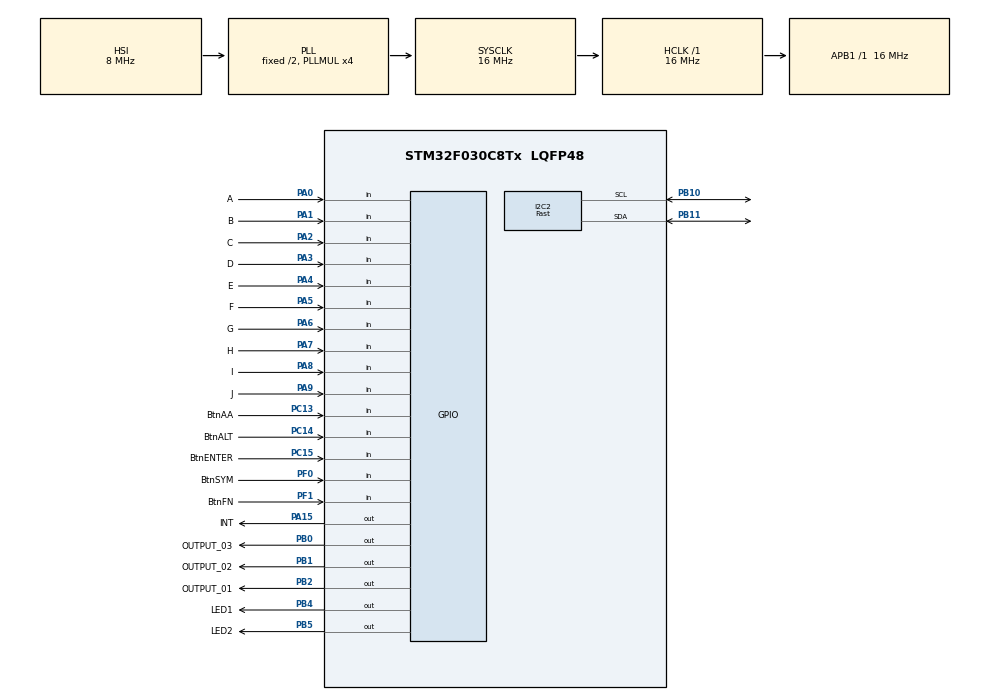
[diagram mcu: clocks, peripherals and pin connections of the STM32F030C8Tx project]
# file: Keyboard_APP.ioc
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I2C2.I2C_Speed_Mode=I2C_Fast
I2C2.OwnAddress=0x08<<1
I2C2.Timing=0x00300617
IWDG.Prescaler=IWDG_PRESCALER_64
Mcu.Family=STM32F0
Mcu.Name=STM32F030C8Tx
Mcu.Package=LQFP48
NVIC.I2C2_IRQn=true\:0\:0\:false\:false\:true\:true\:true\:true
PA0.GPIO_Label=A
PA0.GPIO_PuPd=GPIO_PULLUP
PA0.Signal=GPIO_Input
PA1.GPIO_Label=B
PA1.GPIO_PuPd=GPIO_PULLUP
PA1.Signal=GPIO_Input
PA15.GPIO_Label=INT
PA15.Signal=GPIO_Output
PA2.GPIO_Label=C
PA2.GPIO_PuPd=GPIO_PULLUP
PA2.Signal=GPIO_Input
PA3.GPIO_Label=D
PA3.GPIO_PuPd=GPIO_PULLUP
PA3.Signal=GPIO_Input
PA4.GPIO_Label=E
PA4.GPIO_PuPd=GPIO_PULLUP
PA4.Signal=GPIO_Input
PA5.GPIO_Label=F
PA5.GPIO_PuPd=GPIO_PULLUP
PA5.Signal=GPIO_Input
PA6.GPIO_Label=G
PA6.GPIO_PuPd=GPIO_PULLUP
PA6.Signal=GPIO_Input
PA7.GPIO_Label=H
PA7.GPIO_PuPd=GPIO_PULLUP
PA7.Signal=GPIO_Input
PA8.GPIO_Label=I
PA8.GPIO_PuPd=GPIO_PULLUP
PA8.Signal=GPIO_Input
PA9.GPIO_Label=J
PA9.GPIO_PuPd=GPIO_PULLUP
PA9.Signal=GPIO_Input
PB0.GPIO_Label=OUTPUT_03
PB0.Signal=GPIO_Output
PB1.GPIO_Label=OUTPUT_02
PB1.Signal=GPIO_Output
PB10.Mode=I2C
PB10.Signal=I2C2_SCL
PB11.Mode=I2C
PB11.Signal=I2C2_SDA
PB2.GPIO_Label=OUTPUT_01
PB2.Signal=GPIO_Output
PB4.GPIO_Label=LED1
PB4.Signal=GPIO_Output
PB5.GPIO_Label=LED2
PB5.Signal=GPIO_Output
PC13.GPIO_Label=BtnAA
PC13.GPIO_PuPd=GPIO_PULLUP
PC13.Signal=GPIO_Input
PC14-OSC32_IN.GPIO_Label=BtnALT
PC14-OSC32_IN.GPIO_PuPd=GPIO_PULLUP
PC14-OSC32_IN.Signal=GPIO_Input
PC15-OSC32_OUT.GPIO_Label=BtnENTER
PC15-OSC32_OUT.GPIO_PuPd=GPIO_PULLUP
PC15-OSC32_OUT.Signal=GPIO_Input
PF0-OSC_IN.GPIO_Label=BtnSYM
PF0-OSC_IN.GPIO_PuPd=GPIO_PULLUP
PF0-OSC_IN.Signal=GPIO_Input
PF1-OSC_OUT.GPIO_Label=BtnFN
PF1-OSC_OUT.GPIO_PuPd=GPIO_PULLUP
PF1-OSC_OUT.Signal=GPIO_Input
ProjectManager.HeapSize=0x200
ProjectManager.StackSize=0x400
ProjectManager.TargetToolchain=STM32CubeIDE
RCC.AHBFreq_Value=16000000
RCC.APB1Freq_Value=16000000
RCC.APB1TimFreq_Value=16000000
RCC.HCLKFreq_Value=16000000
RCC.PLLMUL=RCC_PLL_MUL4
RCC.SYSCLKFreq_VALUE=16000000
RCC.SYSCLKSource=RCC_SYSCLKSOURCE_PLLCLK
VP_IWDG_VS_IWDG.Mode=IWDG_Activate
board=custom

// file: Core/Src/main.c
/* USER CODE BEGIN Header */
/**
 ******************************************************************************
 * @file           : main.c
 * @brief          : Main program body
 ******************************************************************************
 * @attention
 *
 * Copyright (c) 2025 STMicroelectronics.
 * All rights reserved.
 *
 * This software is licensed under terms that can be found in the LICENSE file
 * in the root directory of this software component.
 * If no LICENSE file comes with this software, it is provided AS-IS.
 *
 ******************************************************************************
 */
/* USER CODE END Header */
#include "main.h"
#include "i2c.h"
#include "iwdg.h"
#include "gpio.h"

/* USER CODE BEGIN Includes */

#include "user_i2c.h"
#include "user_i2c_callback.h"
#include "user_sys.h"
#include "user_scan_handle.h"
#include "user_int.h"
#include "user_led.h"
#include "user_flash.h"

/* USER CODE END Includes */

void SystemClock_Config(void);

/* USER CODE BEGIN 0 */

void iap_set(void)
{
    uint8_t i;                                     // Loop index
    uint32_t *pVecTab = (uint32_t *)(0x20000000);  // Pointer to the vector table in SRAM

    // Copy the interrupt vector table from the application address to SRAM
    for (i = 0; i < 48; i++) {
        // Copy each vector entry to the SRAM vector table
        *(pVecTab++) = *(__IO uint32_t *)(APPLICATION_ADDRESS + (i << 2));
    }

    // Enable the SYSCFG peripheral clock
    __HAL_RCC_SYSCFG_CLK_ENABLE();

    // Remap the memory to use SRAM for the vector table
    __HAL_SYSCFG_REMAPMEMORY_SRAM();
}

void reg_init(void)
{
    if (get_i2c_addr() == FLASH_DEFAULT_DATA) {
        i2c_addr_reg = I2C_ADDR_REG_DEFAULT;
        set_i2c_addr(I2C_ADDR_REG_DEFAULT);
    } else {
        i2c_addr_reg = get_i2c_addr();
    }
}

/* USER CODE END 0 */

int main(void)
{
    /* USER CODE BEGIN 1 */
    iap_set();
    reg_init();
    /* USER CODE END 1 */

    /* MCU Configuration--------------------------------------------------------*/

    /* Reset of all peripherals, Initializes the Flash interface and the Systick. */
    HAL_Init();

    /* Configure the system clock */
    SystemClock_Config();

    /* Initialize all configured peripherals */
    MX_GPIO_Init();
    MX_I2C2_Init();
    /* USER CODE BEGIN 2 */
    IRQ_CLR;
    direct_mode_sync_baseline();
    read_uid();
    user_i2c_init();
    i2c2_it_enable();
    led_blink();
    MX_IWDG_Init();
    /* USER CODE END 2 */

    /* Infinite loop */
    /* USER CODE BEGIN WHILE */

    while (1) {
        i2c_timeout_handler();
        keyboard_update();
        led_update();
        /* USER CODE END WHILE */

        /* USER CODE BEGIN 3 */
        LL_IWDG_ReloadCounter(IWDG);
    }
    /* USER CODE END 3 */
}

void SystemClock_Config(void)
{
    RCC_OscInitTypeDef RCC_OscInitStruct = {0};
    RCC_ClkInitTypeDef RCC_ClkInitStruct = {0};

    /** Initializes the RCC Oscillators according to the specified parameters
     * in the RCC_OscInitTypeDef structure.
     */
    RCC_OscInitStruct.OscillatorType      = RCC_OSCILLATORTYPE_HSI | RCC_OSCILLATORTYPE_LSI;
    RCC_OscInitStruct.HSIState            = RCC_HSI_ON;
    RCC_OscInitStruct.HSICalibrationValue = RCC_HSICALIBRATION_DEFAULT;
    RCC_OscInitStruct.LSIState            = RCC_LSI_ON;
    RCC_OscInitStruct.PLL.PLLState        = RCC_PLL_ON;
    RCC_OscInitStruct.PLL.PLLSource       = RCC_PLLSOURCE_HSI;
    RCC_OscInitStruct.PLL.PLLMUL          = RCC_PLL_MUL4;
    RCC_OscInitStruct.PLL.PREDIV          = RCC_PREDIV_DIV1;
    if (HAL_RCC_OscConfig(&RCC_OscInitStruct) != HAL_OK) {
        Error_Handler();
    }

    /** Initializes the CPU, AHB and APB buses clocks
     */
    RCC_ClkInitStruct.ClockType      = RCC_CLOCKTYPE_HCLK | RCC_CLOCKTYPE_SYSCLK | RCC_CLOCKTYPE_PCLK1;
    RCC_ClkInitStruct.SYSCLKSource   = RCC_SYSCLKSOURCE_PLLCLK;
    RCC_ClkInitStruct.AHBCLKDivider  = RCC_SYSCLK_DIV1;
    RCC_ClkInitStruct.APB1CLKDivider = RCC_HCLK_DIV1;

    if (HAL_RCC_ClockConfig(&RCC_ClkInitStruct, FLASH_LATENCY_0) != HAL_OK) {
        Error_Handler();
    }
}

void Error_Handler(void)
{
    __disable_irq();
    while (1) {
    }
}
